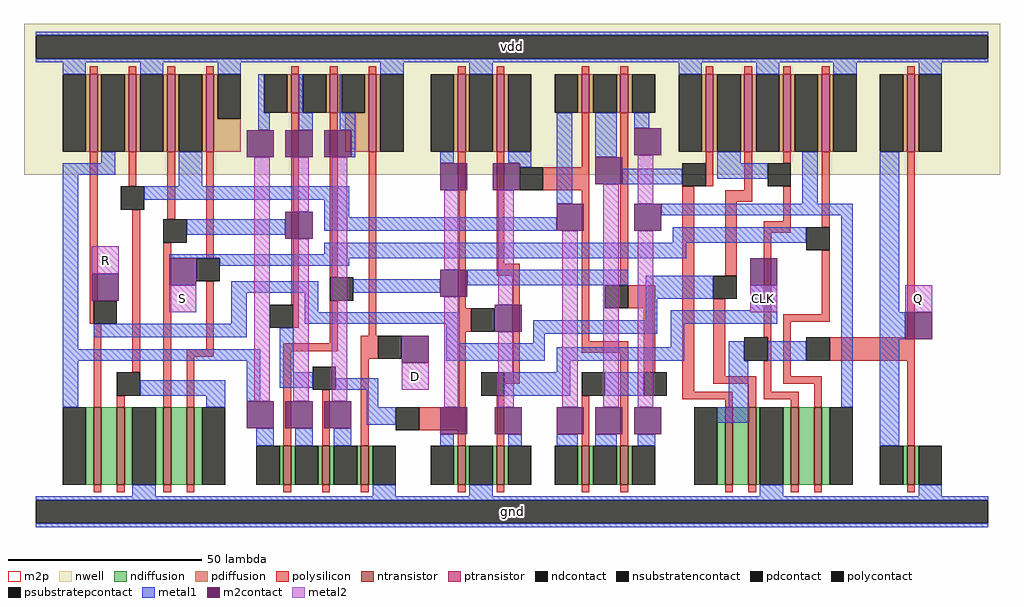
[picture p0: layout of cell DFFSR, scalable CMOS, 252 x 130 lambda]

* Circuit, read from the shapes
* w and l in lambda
.subckt DFFSR R S D CLK Q vdd gnd
M1 n1 R n2 gnd nfet w=20 l=2
M2 gnd n3 n1 gnd nfet w=20 l=2
M3 n4 n5 gnd gnd nfet w=20 l=2
M4 n3 S n4 gnd nfet w=20 l=2
M5 n5 n6 n2 gnd nfet w=10 l=2
M6 n7 n8 n5 gnd nfet w=10 l=2
M7 gnd D n7 gnd nfet w=10 l=2
M8 gnd n8 n6 gnd nfet w=10 l=2
M9 n8 CLK gnd gnd nfet w=10 l=2
M10 n9 n6 n3 gnd nfet w=10 l=2
M11 n10 n8 n9 gnd nfet w=10 l=2
M12 n11 n9 n12 gnd nfet w=20 l=2
M13 gnd R n11 gnd nfet w=20 l=2
M14 n13 n12 gnd gnd nfet w=20 l=2
M15 n10 S n13 gnd nfet w=20 l=2
M16 gnd n12 Q gnd nfet w=10 l=2
M17 n2 R vdd vdd pfet w=20 l=2
M18 vdd n3 n2 vdd pfet w=20 l=2
M19 n3 n5 vdd vdd pfet w=20 l=2
M20 vdd S n3 vdd pfet w=20 l=2
M21 n5 n8 n2 vdd pfet w=10 l=2
M22 n7 n6 n5 vdd pfet w=10 l=2
M23 vdd D n7 vdd pfet w=20 l=2
M24 vdd n8 n6 vdd pfet w=20 l=2
M25 n8 CLK vdd vdd pfet w=20 l=2
M26 n9 n8 n3 vdd pfet w=10 l=2
M27 n10 n6 n9 vdd pfet w=10 l=2
M28 n12 n9 vdd vdd pfet w=20 l=2
M29 vdd R n12 vdd pfet w=20 l=2
M30 n10 n12 vdd vdd pfet w=20 l=2
M31 vdd S n10 vdd pfet w=20 l=2
M32 vdd n12 Q vdd pfet w=20 l=2
.ends

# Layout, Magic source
magic
tech scmos
magscale 1 2
<< nwell >>
rect -12 174 492 252
<< ntransistor >>
rect 24 14 28 54
rect 36 14 40 54
rect 60 14 64 54
rect 72 14 76 54
rect 122 14 126 34
rect 142 14 146 34
rect 162 14 166 34
rect 212 14 216 34
rect 232 14 236 34
rect 276 14 280 34
rect 296 14 300 34
rect 350 14 354 54
rect 362 14 366 54
rect 384 14 388 54
rect 396 14 400 54
rect 444 14 448 34
<< ptransistor >>
rect 22 186 26 226
rect 42 186 46 226
rect 62 186 66 226
rect 82 186 86 226
rect 126 206 130 226
rect 146 206 150 226
rect 166 186 170 226
rect 212 186 216 226
rect 232 186 236 226
rect 276 206 280 226
rect 296 206 300 226
rect 340 186 344 226
rect 360 186 364 226
rect 380 186 384 226
rect 400 186 404 226
rect 444 186 448 226
<< ndiffusion >>
rect 20 14 24 54
rect 28 14 36 54
rect 40 14 44 54
rect 56 14 60 54
rect 64 14 72 54
rect 76 14 80 54
rect 120 14 122 34
rect 126 14 128 34
rect 140 14 142 34
rect 146 14 148 34
rect 160 14 162 34
rect 166 14 168 34
rect 210 14 212 34
rect 216 14 218 34
rect 230 14 232 34
rect 236 14 238 34
rect 274 14 276 34
rect 280 14 282 34
rect 294 14 296 34
rect 300 14 302 34
rect 346 14 350 54
rect 354 14 362 54
rect 366 14 368 54
rect 380 14 384 54
rect 388 14 396 54
rect 400 14 404 54
rect 442 14 444 34
rect 448 14 450 34
<< pdiffusion >>
rect 20 186 22 226
rect 26 186 28 226
rect 40 186 42 226
rect 46 186 48 226
rect 60 186 62 226
rect 66 186 68 226
rect 80 186 82 226
rect 86 203 88 226
rect 124 206 126 226
rect 130 206 132 226
rect 144 206 146 226
rect 150 206 152 226
rect 164 206 166 226
rect 86 186 100 203
rect 154 186 166 206
rect 170 186 172 226
rect 210 186 212 226
rect 216 186 218 226
rect 230 186 232 226
rect 236 186 238 226
rect 274 206 276 226
rect 280 206 282 226
rect 294 206 296 226
rect 300 206 302 226
rect 338 186 340 226
rect 344 186 346 226
rect 358 186 360 226
rect 364 186 366 226
rect 378 186 380 226
rect 384 186 386 226
rect 398 186 400 226
rect 404 186 406 226
rect 442 186 444 226
rect 448 186 450 226
<< ndcontact >>
rect 8 14 20 54
rect 44 14 56 54
rect 80 14 92 54
rect 108 14 120 34
rect 128 14 140 34
rect 148 14 160 34
rect 168 14 180 34
rect 198 14 210 34
rect 218 14 230 34
rect 238 14 250 34
rect 262 14 274 34
rect 282 14 294 34
rect 302 14 314 34
rect 334 14 346 54
rect 368 14 380 54
rect 404 14 416 54
rect 430 14 442 34
rect 450 14 462 34
<< pdcontact >>
rect 8 186 20 226
rect 28 186 40 226
rect 48 186 60 226
rect 68 186 80 226
rect 88 203 100 226
rect 112 206 124 226
rect 132 206 144 226
rect 152 206 164 226
rect 172 186 184 226
rect 198 186 210 226
rect 218 186 230 226
rect 238 186 250 226
rect 262 206 274 226
rect 282 206 294 226
rect 302 206 314 226
rect 326 186 338 226
rect 346 186 358 226
rect 366 186 378 226
rect 386 186 398 226
rect 406 186 418 226
rect 430 186 442 226
rect 450 186 462 226
<< psubstratepcontact >>
rect -6 -6 486 6
<< nsubstratencontact >>
rect -6 234 486 246
<< polysilicon >>
rect 22 226 26 230
rect 42 226 46 230
rect 62 226 66 230
rect 82 226 86 230
rect 126 226 130 230
rect 146 226 150 230
rect 166 226 170 230
rect 212 226 216 230
rect 232 226 236 230
rect 276 226 280 230
rect 296 226 300 230
rect 340 226 344 230
rect 360 226 364 230
rect 380 226 384 230
rect 400 226 404 230
rect 444 226 448 230
rect 22 109 26 186
rect 42 168 46 186
rect 22 97 24 109
rect 24 54 28 97
rect 44 72 48 156
rect 62 151 66 186
rect 36 54 40 60
rect 60 54 64 139
rect 82 131 86 186
rect 82 84 86 119
rect 126 107 130 206
rect 127 95 130 107
rect 146 121 150 206
rect 146 87 150 109
rect 166 91 170 186
rect 212 105 216 186
rect 232 128 236 186
rect 276 178 280 206
rect 256 166 280 178
rect 232 122 244 128
rect 212 93 219 105
rect 72 80 86 84
rect 122 83 150 87
rect 72 54 76 80
rect 122 34 126 83
rect 162 79 171 91
rect 142 34 146 63
rect 162 34 166 79
rect 212 54 216 93
rect 240 72 244 122
rect 276 88 280 166
rect 296 117 300 206
rect 340 168 344 186
rect 300 105 314 117
rect 276 82 300 88
rect 236 66 244 72
rect 192 42 216 54
rect 212 34 216 42
rect 232 34 236 60
rect 276 34 280 60
rect 296 34 300 82
rect 308 72 314 105
rect 328 62 334 168
rect 360 166 364 186
rect 380 180 384 186
rect 350 160 364 166
rect 350 122 356 160
rect 380 150 384 168
rect 370 144 384 150
rect 400 147 404 186
rect 344 70 350 110
rect 370 90 374 144
rect 400 102 404 135
rect 372 78 374 90
rect 344 66 366 70
rect 328 58 354 62
rect 350 54 354 58
rect 362 54 366 66
rect 370 62 374 78
rect 380 98 404 102
rect 380 70 384 98
rect 444 90 448 186
rect 404 78 448 90
rect 380 66 400 70
rect 370 58 388 62
rect 384 54 388 58
rect 396 54 400 66
rect 444 34 448 78
rect 24 10 28 14
rect 36 10 40 14
rect 60 10 64 14
rect 72 10 76 14
rect 122 10 126 14
rect 142 10 146 14
rect 162 10 166 14
rect 212 10 216 14
rect 232 10 236 14
rect 276 10 280 14
rect 296 10 300 14
rect 350 10 354 14
rect 362 10 366 14
rect 384 10 388 14
rect 396 10 400 14
rect 444 10 448 14
<< polycontact >>
rect 38 156 50 168
rect 24 97 36 109
rect 36 60 48 72
rect 60 139 72 151
rect 77 119 89 131
rect 115 95 127 107
rect 146 109 158 121
rect 244 166 256 178
rect 219 93 231 105
rect 171 79 183 91
rect 137 63 149 75
rect 328 168 340 180
rect 288 105 300 117
rect 224 60 236 72
rect 180 42 192 54
rect 276 60 288 72
rect 308 60 320 72
rect 372 168 384 180
rect 344 110 356 122
rect 392 135 404 147
rect 360 78 372 90
rect 392 78 404 90
<< metal1 >>
rect -6 246 486 248
rect -6 232 486 234
rect 8 226 20 232
rect 48 226 60 232
rect 88 226 100 232
rect 172 226 184 232
rect 218 226 230 232
rect 326 226 338 232
rect 366 226 378 232
rect 406 226 418 232
rect 450 226 462 232
rect 109 206 112 226
rect 130 206 132 226
rect 151 206 152 226
rect 109 197 115 206
rect 130 197 137 206
rect 151 197 159 206
rect 28 180 35 186
rect 8 174 35 180
rect 8 84 16 174
rect 68 168 80 186
rect 157 183 159 197
rect 203 180 210 186
rect 238 180 250 186
rect 50 161 156 168
rect 244 178 250 180
rect 72 143 123 151
rect 143 152 156 161
rect 263 159 271 206
rect 283 183 294 206
rect 303 198 311 206
rect 346 180 358 186
rect 297 169 328 177
rect 346 172 372 180
rect 390 159 398 186
rect 143 145 263 152
rect 317 153 416 159
rect 323 139 392 147
rect 143 133 330 139
rect 63 131 330 133
rect 89 127 156 131
rect 95 113 140 119
rect 95 97 103 113
rect 24 90 103 97
rect 133 103 140 113
rect 158 113 203 120
rect 217 117 300 125
rect 133 97 213 103
rect 8 78 110 84
rect 8 54 16 78
rect 48 60 92 68
rect 82 54 92 60
rect 103 57 110 78
rect 120 72 127 95
rect 206 87 213 97
rect 309 110 344 122
rect 309 99 315 110
rect 363 104 377 117
rect 251 92 315 99
rect 322 97 377 104
rect 251 87 257 92
rect 206 78 257 87
rect 322 85 329 97
rect 263 78 329 85
rect 352 78 360 88
rect 372 78 392 88
rect 120 64 137 72
rect 263 72 270 78
rect 149 63 171 69
rect 165 54 171 63
rect 236 60 270 72
rect 288 60 308 72
rect 352 54 362 78
rect 410 54 416 153
rect 165 45 180 54
rect 108 34 117 43
rect 128 34 137 43
rect 148 34 157 43
rect 203 34 210 40
rect 238 34 245 40
rect 263 34 274 40
rect 283 34 294 40
rect 305 34 314 40
rect 346 46 362 54
rect 430 103 440 186
rect 430 89 443 103
rect 430 34 440 89
rect 44 8 56 14
rect 168 8 180 14
rect 218 8 230 14
rect 368 8 380 14
rect 450 8 462 14
rect -6 6 486 8
rect -6 -8 486 -6
<< m2contact >>
rect 103 183 117 197
rect 123 183 137 197
rect 143 183 157 197
rect 203 166 217 180
rect 230 166 244 180
rect 123 141 137 155
rect 303 184 317 198
rect 283 169 297 183
rect 263 145 277 159
rect 303 145 317 159
rect 23 109 37 123
rect 63 117 77 131
rect 203 111 217 125
rect 183 77 197 91
rect 231 93 245 107
rect 363 117 377 131
rect 103 43 117 57
rect 123 43 137 57
rect 143 43 157 57
rect 203 40 217 54
rect 231 40 245 54
rect 263 40 277 54
rect 283 40 297 54
rect 303 40 317 54
rect 443 89 457 103
<< metal2 >>
rect 23 123 37 137
rect 63 103 77 117
rect 107 57 115 183
rect 127 155 135 183
rect 127 57 135 141
rect 147 57 155 183
rect 205 125 213 166
rect 183 63 197 77
rect 205 54 213 111
rect 233 107 241 166
rect 233 54 241 93
rect 266 54 274 145
rect 287 54 295 169
rect 305 159 313 184
rect 305 54 313 145
rect 363 103 377 117
rect 443 103 457 117
<< m2p >>
rect 23 123 37 137
rect 63 103 77 117
rect 363 103 377 117
rect 443 103 457 117
rect 183 63 197 77
<< labels >>
rlabel metal1 -6 -8 486 8 0 gnd
port 6 nsew ground bidirectional abutment
rlabel metal1 -6 232 486 248 0 vdd
port 5 nsew power bidirectional abutment
rlabel metal2 63 103 77 117 0 S
port 1 nsew signal input
rlabel metal2 183 63 197 77 0 D
port 2 nsew signal input
rlabel metal2 363 103 377 117 0 CLK
port 3 nsew signal input
rlabel metal2 443 103 457 117 0 Q
port 4 nsew signal output
rlabel metal2 23 123 37 137 0 R
port 0 nsew signal input
<< properties >>
string FIXED_BBOX 0 0 480 240
string LEFclass CORE
string LEFsite core
string LEFsymmetry X Y
<< end >>
